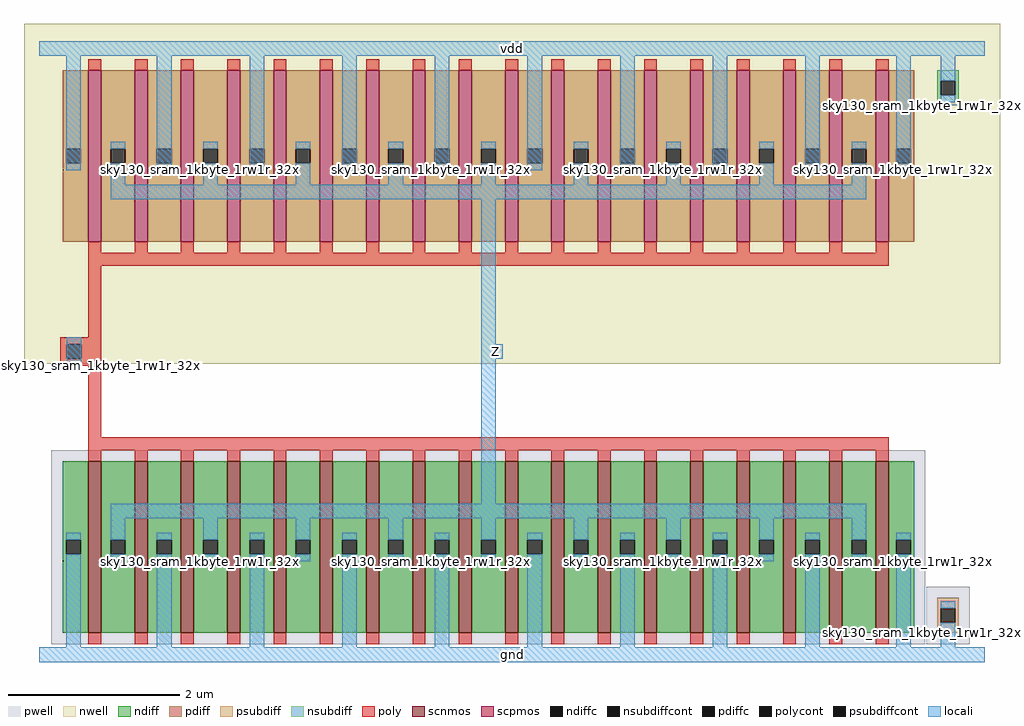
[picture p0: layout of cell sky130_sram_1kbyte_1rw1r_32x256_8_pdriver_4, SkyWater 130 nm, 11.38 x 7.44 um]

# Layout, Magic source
magic
tech sky130A
magscale 1 2
<< nwell >>
rect -36 679 2240 1471
<< locali >>
rect 0 1397 2204 1431
rect 64 674 98 740
rect 1047 690 1081 724
rect 0 -17 2204 17
use sky130_sram_1kbyte_1rw1r_32x256_8_pinv_16  sky130_sram_1kbyte_1rw1r_32x256_8_pinv_16_0
transform 1 0 0 0 1 0
box -36 -17 2240 1471
<< labels >>
rlabel locali s 1064 707 1064 707 4 Z
port 1 nsew
rlabel locali s 81 707 81 707 4 A
port 2 nsew
rlabel locali s 1102 0 1102 0 4 gnd
port 3 nsew
rlabel locali s 1102 1414 1102 1414 4 vdd
port 4 nsew
<< properties >>
string FIXED_BBOX 0 0 2204 1414
string GDS_FILE $PDKPATH/libs.ref/sky130_sram_macros/gds/sky130_sram_1kbyte_1rw1r_32x256_8.gds
string GDS_END 357920
string GDS_START 357088
<< end >>

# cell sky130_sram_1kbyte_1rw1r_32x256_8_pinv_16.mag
magic
tech sky130A
magscale 1 2
<< nwell >>
rect -36 679 2240 1471
<< pwell >>
rect 2068 25 2170 159
<< psubdiff >>
rect 2094 109 2144 133
rect 2094 75 2102 109
rect 2136 75 2144 109
rect 2094 51 2144 75
<< nsubdiff >>
rect 2094 1339 2144 1363
rect 2094 1305 2102 1339
rect 2136 1305 2144 1339
rect 2094 1281 2144 1305
<< psubdiffcont >>
rect 2102 75 2136 109
<< nsubdiffcont >>
rect 2102 1305 2136 1339
<< poly >>
rect 114 740 144 907
rect 48 724 144 740
rect 48 690 64 724
rect 98 690 144 724
rect 48 674 144 690
rect 114 507 144 674
<< polycont >>
rect 64 690 98 724
<< locali >>
rect 0 1397 2204 1431
rect 62 1130 96 1397
rect 274 1130 308 1397
rect 490 1130 524 1397
rect 706 1130 740 1397
rect 922 1130 956 1397
rect 1138 1130 1172 1397
rect 1354 1130 1388 1397
rect 1570 1130 1604 1397
rect 1786 1130 1820 1397
rect 1998 1130 2032 1397
rect 2102 1339 2136 1397
rect 2102 1289 2136 1305
rect 64 724 98 740
rect 64 674 98 690
rect 1030 724 1064 1096
rect 1030 690 1081 724
rect 1030 318 1064 690
rect 62 17 96 218
rect 274 17 308 218
rect 490 17 524 218
rect 706 17 740 218
rect 922 17 956 218
rect 1138 17 1172 218
rect 1354 17 1388 218
rect 1570 17 1604 218
rect 1786 17 1820 218
rect 1998 17 2032 218
rect 2102 109 2136 125
rect 2102 17 2136 75
rect 0 -17 2204 17
use sky130_sram_1kbyte_1rw1r_32x256_8_contact_16  sky130_sram_1kbyte_1rw1r_32x256_8_contact_16_0
transform 1 0 48 0 1 674
box 0 0 1 1
use sky130_sram_1kbyte_1rw1r_32x256_8_contact_29  sky130_sram_1kbyte_1rw1r_32x256_8_contact_29_0
transform 1 0 2094 0 1 51
box 0 0 1 1
use sky130_sram_1kbyte_1rw1r_32x256_8_contact_28  sky130_sram_1kbyte_1rw1r_32x256_8_contact_28_0
transform 1 0 2094 0 1 1281
box 0 0 1 1
use sky130_sram_1kbyte_1rw1r_32x256_8_nmos_m18_w2_000_sli_dli_da_p  sky130_sram_1kbyte_1rw1r_32x256_8_nmos_m18_w2_000_sli_dli_da_p_0
transform 1 0 54 0 1 51
box -26 -26 2012 456
use sky130_sram_1kbyte_1rw1r_32x256_8_pmos_m18_w2_000_sli_dli_da_p  sky130_sram_1kbyte_1rw1r_32x256_8_pmos_m18_w2_000_sli_dli_da_p_0
transform 1 0 54 0 1 963
box -59 -56 2045 454
<< labels >>
rlabel locali s 81 707 81 707 4 A
port 1 nsew
rlabel locali s 1064 707 1064 707 4 Z
port 2 nsew
rlabel locali s 1102 0 1102 0 4 gnd
port 3 nsew
rlabel locali s 1102 1414 1102 1414 4 vdd
port 4 nsew
<< properties >>
string FIXED_BBOX 0 0 2204 1414
string GDS_FILE $PDKPATH/libs.ref/sky130_sram_macros/gds/sky130_sram_1kbyte_1rw1r_32x256_8.gds
string GDS_END 100586
string GDS_START 97564
<< end >>

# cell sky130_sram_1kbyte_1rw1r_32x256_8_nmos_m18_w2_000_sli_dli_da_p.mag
magic
tech sky130A
magscale 1 2
<< pwell >>
rect -26 -26 2012 426
<< scnmos >>
rect 60 0 90 400
rect 168 0 198 400
rect 276 0 306 400
rect 384 0 414 400
rect 492 0 522 400
rect 600 0 630 400
rect 708 0 738 400
rect 816 0 846 400
rect 924 0 954 400
rect 1032 0 1062 400
rect 1140 0 1170 400
rect 1248 0 1278 400
rect 1356 0 1386 400
rect 1464 0 1494 400
rect 1572 0 1602 400
rect 1680 0 1710 400
rect 1788 0 1818 400
rect 1896 0 1926 400
<< ndiff >>
rect 0 217 60 400
rect 0 183 8 217
rect 42 183 60 217
rect 0 0 60 183
rect 90 217 168 400
rect 90 183 112 217
rect 146 183 168 217
rect 90 0 168 183
rect 198 217 276 400
rect 198 183 220 217
rect 254 183 276 217
rect 198 0 276 183
rect 306 217 384 400
rect 306 183 328 217
rect 362 183 384 217
rect 306 0 384 183
rect 414 217 492 400
rect 414 183 436 217
rect 470 183 492 217
rect 414 0 492 183
rect 522 217 600 400
rect 522 183 544 217
rect 578 183 600 217
rect 522 0 600 183
rect 630 217 708 400
rect 630 183 652 217
rect 686 183 708 217
rect 630 0 708 183
rect 738 217 816 400
rect 738 183 760 217
rect 794 183 816 217
rect 738 0 816 183
rect 846 217 924 400
rect 846 183 868 217
rect 902 183 924 217
rect 846 0 924 183
rect 954 217 1032 400
rect 954 183 976 217
rect 1010 183 1032 217
rect 954 0 1032 183
rect 1062 217 1140 400
rect 1062 183 1084 217
rect 1118 183 1140 217
rect 1062 0 1140 183
rect 1170 217 1248 400
rect 1170 183 1192 217
rect 1226 183 1248 217
rect 1170 0 1248 183
rect 1278 217 1356 400
rect 1278 183 1300 217
rect 1334 183 1356 217
rect 1278 0 1356 183
rect 1386 217 1464 400
rect 1386 183 1408 217
rect 1442 183 1464 217
rect 1386 0 1464 183
rect 1494 217 1572 400
rect 1494 183 1516 217
rect 1550 183 1572 217
rect 1494 0 1572 183
rect 1602 217 1680 400
rect 1602 183 1624 217
rect 1658 183 1680 217
rect 1602 0 1680 183
rect 1710 217 1788 400
rect 1710 183 1732 217
rect 1766 183 1788 217
rect 1710 0 1788 183
rect 1818 217 1896 400
rect 1818 183 1840 217
rect 1874 183 1896 217
rect 1818 0 1896 183
rect 1926 217 1986 400
rect 1926 183 1944 217
rect 1978 183 1986 217
rect 1926 0 1986 183
<< ndiffc >>
rect 8 183 42 217
rect 112 183 146 217
rect 220 183 254 217
rect 328 183 362 217
rect 436 183 470 217
rect 544 183 578 217
rect 652 183 686 217
rect 760 183 794 217
rect 868 183 902 217
rect 976 183 1010 217
rect 1084 183 1118 217
rect 1192 183 1226 217
rect 1300 183 1334 217
rect 1408 183 1442 217
rect 1516 183 1550 217
rect 1624 183 1658 217
rect 1732 183 1766 217
rect 1840 183 1874 217
rect 1944 183 1978 217
<< poly >>
rect 60 426 1926 456
rect 60 400 90 426
rect 168 400 198 426
rect 276 400 306 426
rect 384 400 414 426
rect 492 400 522 426
rect 600 400 630 426
rect 708 400 738 426
rect 816 400 846 426
rect 924 400 954 426
rect 1032 400 1062 426
rect 1140 400 1170 426
rect 1248 400 1278 426
rect 1356 400 1386 426
rect 1464 400 1494 426
rect 1572 400 1602 426
rect 1680 400 1710 426
rect 1788 400 1818 426
rect 1896 400 1926 426
rect 60 -26 90 0
rect 168 -26 198 0
rect 276 -26 306 0
rect 384 -26 414 0
rect 492 -26 522 0
rect 600 -26 630 0
rect 708 -26 738 0
rect 816 -26 846 0
rect 924 -26 954 0
rect 1032 -26 1062 0
rect 1140 -26 1170 0
rect 1248 -26 1278 0
rect 1356 -26 1386 0
rect 1464 -26 1494 0
rect 1572 -26 1602 0
rect 1680 -26 1710 0
rect 1788 -26 1818 0
rect 1896 -26 1926 0
<< locali >>
rect 112 267 1874 301
rect 8 217 42 233
rect 8 167 42 183
rect 112 217 146 267
rect 112 167 146 183
rect 220 217 254 233
rect 220 167 254 183
rect 328 217 362 267
rect 328 167 362 183
rect 436 217 470 233
rect 436 167 470 183
rect 544 217 578 267
rect 544 167 578 183
rect 652 217 686 233
rect 652 167 686 183
rect 760 217 794 267
rect 760 167 794 183
rect 868 217 902 233
rect 868 167 902 183
rect 976 217 1010 267
rect 976 167 1010 183
rect 1084 217 1118 233
rect 1084 167 1118 183
rect 1192 217 1226 267
rect 1192 167 1226 183
rect 1300 217 1334 233
rect 1300 167 1334 183
rect 1408 217 1442 267
rect 1408 167 1442 183
rect 1516 217 1550 233
rect 1516 167 1550 183
rect 1624 217 1658 267
rect 1624 167 1658 183
rect 1732 217 1766 233
rect 1732 167 1766 183
rect 1840 217 1874 267
rect 1840 167 1874 183
rect 1944 217 1978 233
rect 1944 167 1978 183
use sky130_sram_1kbyte_1rw1r_32x256_8_contact_11  sky130_sram_1kbyte_1rw1r_32x256_8_contact_11_0
transform 1 0 1936 0 1 167
box 0 0 1 1
use sky130_sram_1kbyte_1rw1r_32x256_8_contact_11  sky130_sram_1kbyte_1rw1r_32x256_8_contact_11_1
transform 1 0 1832 0 1 167
box 0 0 1 1
use sky130_sram_1kbyte_1rw1r_32x256_8_contact_11  sky130_sram_1kbyte_1rw1r_32x256_8_contact_11_2
transform 1 0 1724 0 1 167
box 0 0 1 1
use sky130_sram_1kbyte_1rw1r_32x256_8_contact_11  sky130_sram_1kbyte_1rw1r_32x256_8_contact_11_3
transform 1 0 1616 0 1 167
box 0 0 1 1
use sky130_sram_1kbyte_1rw1r_32x256_8_contact_11  sky130_sram_1kbyte_1rw1r_32x256_8_contact_11_4
transform 1 0 1508 0 1 167
box 0 0 1 1
use sky130_sram_1kbyte_1rw1r_32x256_8_contact_11  sky130_sram_1kbyte_1rw1r_32x256_8_contact_11_5
transform 1 0 1400 0 1 167
box 0 0 1 1
use sky130_sram_1kbyte_1rw1r_32x256_8_contact_11  sky130_sram_1kbyte_1rw1r_32x256_8_contact_11_6
transform 1 0 1292 0 1 167
box 0 0 1 1
use sky130_sram_1kbyte_1rw1r_32x256_8_contact_11  sky130_sram_1kbyte_1rw1r_32x256_8_contact_11_7
transform 1 0 1184 0 1 167
box 0 0 1 1
use sky130_sram_1kbyte_1rw1r_32x256_8_contact_11  sky130_sram_1kbyte_1rw1r_32x256_8_contact_11_8
transform 1 0 1076 0 1 167
box 0 0 1 1
use sky130_sram_1kbyte_1rw1r_32x256_8_contact_11  sky130_sram_1kbyte_1rw1r_32x256_8_contact_11_9
transform 1 0 968 0 1 167
box 0 0 1 1
use sky130_sram_1kbyte_1rw1r_32x256_8_contact_11  sky130_sram_1kbyte_1rw1r_32x256_8_contact_11_10
transform 1 0 860 0 1 167
box 0 0 1 1
use sky130_sram_1kbyte_1rw1r_32x256_8_contact_11  sky130_sram_1kbyte_1rw1r_32x256_8_contact_11_11
transform 1 0 752 0 1 167
box 0 0 1 1
use sky130_sram_1kbyte_1rw1r_32x256_8_contact_11  sky130_sram_1kbyte_1rw1r_32x256_8_contact_11_12
transform 1 0 644 0 1 167
box 0 0 1 1
use sky130_sram_1kbyte_1rw1r_32x256_8_contact_11  sky130_sram_1kbyte_1rw1r_32x256_8_contact_11_13
transform 1 0 536 0 1 167
box 0 0 1 1
use sky130_sram_1kbyte_1rw1r_32x256_8_contact_11  sky130_sram_1kbyte_1rw1r_32x256_8_contact_11_14
transform 1 0 428 0 1 167
box 0 0 1 1
use sky130_sram_1kbyte_1rw1r_32x256_8_contact_11  sky130_sram_1kbyte_1rw1r_32x256_8_contact_11_15
transform 1 0 320 0 1 167
box 0 0 1 1
use sky130_sram_1kbyte_1rw1r_32x256_8_contact_11  sky130_sram_1kbyte_1rw1r_32x256_8_contact_11_16
transform 1 0 212 0 1 167
box 0 0 1 1
use sky130_sram_1kbyte_1rw1r_32x256_8_contact_11  sky130_sram_1kbyte_1rw1r_32x256_8_contact_11_17
transform 1 0 104 0 1 167
box 0 0 1 1
use sky130_sram_1kbyte_1rw1r_32x256_8_contact_11  sky130_sram_1kbyte_1rw1r_32x256_8_contact_11_18
transform 1 0 0 0 1 167
box 0 0 1 1
<< labels >>
rlabel locali s 1749 200 1749 200 4 S
port 1 nsew
rlabel locali s 453 200 453 200 4 S
port 1 nsew
rlabel locali s 1101 200 1101 200 4 S
port 1 nsew
rlabel locali s 1533 200 1533 200 4 S
port 1 nsew
rlabel locali s 669 200 669 200 4 S
port 1 nsew
rlabel locali s 1961 200 1961 200 4 S
port 1 nsew
rlabel locali s 25 200 25 200 4 S
port 1 nsew
rlabel locali s 885 200 885 200 4 S
port 1 nsew
rlabel locali s 1317 200 1317 200 4 S
port 1 nsew
rlabel locali s 237 200 237 200 4 S
port 1 nsew
rlabel locali s 993 284 993 284 4 D
port 2 nsew
rlabel poly s 993 441 993 441 4 G
port 3 nsew
<< properties >>
string FIXED_BBOX -25 -26 2011 456
string GDS_FILE $PDKPATH/libs.ref/sky130_sram_macros/gds/sky130_sram_1kbyte_1rw1r_32x256_8.gds
string GDS_END 30916
string GDS_START 26226
<< end >>

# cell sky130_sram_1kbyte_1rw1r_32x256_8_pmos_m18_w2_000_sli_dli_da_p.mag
magic
tech sky130A
magscale 1 2
<< nwell >>
rect -54 284 2040 454
rect -59 116 2045 284
rect -54 -54 2040 116
<< scpmos >>
rect 60 0 90 400
rect 168 0 198 400
rect 276 0 306 400
rect 384 0 414 400
rect 492 0 522 400
rect 600 0 630 400
rect 708 0 738 400
rect 816 0 846 400
rect 924 0 954 400
rect 1032 0 1062 400
rect 1140 0 1170 400
rect 1248 0 1278 400
rect 1356 0 1386 400
rect 1464 0 1494 400
rect 1572 0 1602 400
rect 1680 0 1710 400
rect 1788 0 1818 400
rect 1896 0 1926 400
<< pdiff >>
rect 0 217 60 400
rect 0 183 8 217
rect 42 183 60 217
rect 0 0 60 183
rect 90 217 168 400
rect 90 183 112 217
rect 146 183 168 217
rect 90 0 168 183
rect 198 217 276 400
rect 198 183 220 217
rect 254 183 276 217
rect 198 0 276 183
rect 306 217 384 400
rect 306 183 328 217
rect 362 183 384 217
rect 306 0 384 183
rect 414 217 492 400
rect 414 183 436 217
rect 470 183 492 217
rect 414 0 492 183
rect 522 217 600 400
rect 522 183 544 217
rect 578 183 600 217
rect 522 0 600 183
rect 630 217 708 400
rect 630 183 652 217
rect 686 183 708 217
rect 630 0 708 183
rect 738 217 816 400
rect 738 183 760 217
rect 794 183 816 217
rect 738 0 816 183
rect 846 217 924 400
rect 846 183 868 217
rect 902 183 924 217
rect 846 0 924 183
rect 954 217 1032 400
rect 954 183 976 217
rect 1010 183 1032 217
rect 954 0 1032 183
rect 1062 217 1140 400
rect 1062 183 1084 217
rect 1118 183 1140 217
rect 1062 0 1140 183
rect 1170 217 1248 400
rect 1170 183 1192 217
rect 1226 183 1248 217
rect 1170 0 1248 183
rect 1278 217 1356 400
rect 1278 183 1300 217
rect 1334 183 1356 217
rect 1278 0 1356 183
rect 1386 217 1464 400
rect 1386 183 1408 217
rect 1442 183 1464 217
rect 1386 0 1464 183
rect 1494 217 1572 400
rect 1494 183 1516 217
rect 1550 183 1572 217
rect 1494 0 1572 183
rect 1602 217 1680 400
rect 1602 183 1624 217
rect 1658 183 1680 217
rect 1602 0 1680 183
rect 1710 217 1788 400
rect 1710 183 1732 217
rect 1766 183 1788 217
rect 1710 0 1788 183
rect 1818 217 1896 400
rect 1818 183 1840 217
rect 1874 183 1896 217
rect 1818 0 1896 183
rect 1926 217 1986 400
rect 1926 183 1944 217
rect 1978 183 1986 217
rect 1926 0 1986 183
<< pdiffc >>
rect 8 183 42 217
rect 112 183 146 217
rect 220 183 254 217
rect 328 183 362 217
rect 436 183 470 217
rect 544 183 578 217
rect 652 183 686 217
rect 760 183 794 217
rect 868 183 902 217
rect 976 183 1010 217
rect 1084 183 1118 217
rect 1192 183 1226 217
rect 1300 183 1334 217
rect 1408 183 1442 217
rect 1516 183 1550 217
rect 1624 183 1658 217
rect 1732 183 1766 217
rect 1840 183 1874 217
rect 1944 183 1978 217
<< poly >>
rect 60 400 90 426
rect 168 400 198 426
rect 276 400 306 426
rect 384 400 414 426
rect 492 400 522 426
rect 600 400 630 426
rect 708 400 738 426
rect 816 400 846 426
rect 924 400 954 426
rect 1032 400 1062 426
rect 1140 400 1170 426
rect 1248 400 1278 426
rect 1356 400 1386 426
rect 1464 400 1494 426
rect 1572 400 1602 426
rect 1680 400 1710 426
rect 1788 400 1818 426
rect 1896 400 1926 426
rect 60 -26 90 0
rect 168 -26 198 0
rect 276 -26 306 0
rect 384 -26 414 0
rect 492 -26 522 0
rect 600 -26 630 0
rect 708 -26 738 0
rect 816 -26 846 0
rect 924 -26 954 0
rect 1032 -26 1062 0
rect 1140 -26 1170 0
rect 1248 -26 1278 0
rect 1356 -26 1386 0
rect 1464 -26 1494 0
rect 1572 -26 1602 0
rect 1680 -26 1710 0
rect 1788 -26 1818 0
rect 1896 -26 1926 0
rect 60 -56 1926 -26
<< locali >>
rect 8 217 42 233
rect 8 167 42 183
rect 112 217 146 233
rect 112 133 146 183
rect 220 217 254 233
rect 220 167 254 183
rect 328 217 362 233
rect 328 133 362 183
rect 436 217 470 233
rect 436 167 470 183
rect 544 217 578 233
rect 544 133 578 183
rect 652 217 686 233
rect 652 167 686 183
rect 760 217 794 233
rect 760 133 794 183
rect 868 217 902 233
rect 868 167 902 183
rect 976 217 1010 233
rect 976 133 1010 183
rect 1084 217 1118 233
rect 1084 167 1118 183
rect 1192 217 1226 233
rect 1192 133 1226 183
rect 1300 217 1334 233
rect 1300 167 1334 183
rect 1408 217 1442 233
rect 1408 133 1442 183
rect 1516 217 1550 233
rect 1516 167 1550 183
rect 1624 217 1658 233
rect 1624 133 1658 183
rect 1732 217 1766 233
rect 1732 167 1766 183
rect 1840 217 1874 233
rect 1840 133 1874 183
rect 1944 217 1978 233
rect 1944 167 1978 183
rect 112 99 1874 133
use sky130_sram_1kbyte_1rw1r_32x256_8_contact_12  sky130_sram_1kbyte_1rw1r_32x256_8_contact_12_0
transform 1 0 1936 0 1 167
box 0 0 1 1
use sky130_sram_1kbyte_1rw1r_32x256_8_contact_12  sky130_sram_1kbyte_1rw1r_32x256_8_contact_12_1
transform 1 0 1832 0 1 167
box 0 0 1 1
use sky130_sram_1kbyte_1rw1r_32x256_8_contact_12  sky130_sram_1kbyte_1rw1r_32x256_8_contact_12_2
transform 1 0 1724 0 1 167
box 0 0 1 1
use sky130_sram_1kbyte_1rw1r_32x256_8_contact_12  sky130_sram_1kbyte_1rw1r_32x256_8_contact_12_3
transform 1 0 1616 0 1 167
box 0 0 1 1
use sky130_sram_1kbyte_1rw1r_32x256_8_contact_12  sky130_sram_1kbyte_1rw1r_32x256_8_contact_12_4
transform 1 0 1508 0 1 167
box 0 0 1 1
use sky130_sram_1kbyte_1rw1r_32x256_8_contact_12  sky130_sram_1kbyte_1rw1r_32x256_8_contact_12_5
transform 1 0 1400 0 1 167
box 0 0 1 1
use sky130_sram_1kbyte_1rw1r_32x256_8_contact_12  sky130_sram_1kbyte_1rw1r_32x256_8_contact_12_6
transform 1 0 1292 0 1 167
box 0 0 1 1
use sky130_sram_1kbyte_1rw1r_32x256_8_contact_12  sky130_sram_1kbyte_1rw1r_32x256_8_contact_12_7
transform 1 0 1184 0 1 167
box 0 0 1 1
use sky130_sram_1kbyte_1rw1r_32x256_8_contact_12  sky130_sram_1kbyte_1rw1r_32x256_8_contact_12_8
transform 1 0 1076 0 1 167
box 0 0 1 1
use sky130_sram_1kbyte_1rw1r_32x256_8_contact_12  sky130_sram_1kbyte_1rw1r_32x256_8_contact_12_9
transform 1 0 968 0 1 167
box 0 0 1 1
use sky130_sram_1kbyte_1rw1r_32x256_8_contact_12  sky130_sram_1kbyte_1rw1r_32x256_8_contact_12_10
transform 1 0 860 0 1 167
box 0 0 1 1
use sky130_sram_1kbyte_1rw1r_32x256_8_contact_12  sky130_sram_1kbyte_1rw1r_32x256_8_contact_12_11
transform 1 0 752 0 1 167
box 0 0 1 1
use sky130_sram_1kbyte_1rw1r_32x256_8_contact_12  sky130_sram_1kbyte_1rw1r_32x256_8_contact_12_12
transform 1 0 644 0 1 167
box 0 0 1 1
use sky130_sram_1kbyte_1rw1r_32x256_8_contact_12  sky130_sram_1kbyte_1rw1r_32x256_8_contact_12_13
transform 1 0 536 0 1 167
box 0 0 1 1
use sky130_sram_1kbyte_1rw1r_32x256_8_contact_12  sky130_sram_1kbyte_1rw1r_32x256_8_contact_12_14
transform 1 0 428 0 1 167
box 0 0 1 1
use sky130_sram_1kbyte_1rw1r_32x256_8_contact_12  sky130_sram_1kbyte_1rw1r_32x256_8_contact_12_15
transform 1 0 320 0 1 167
box 0 0 1 1
use sky130_sram_1kbyte_1rw1r_32x256_8_contact_12  sky130_sram_1kbyte_1rw1r_32x256_8_contact_12_16
transform 1 0 212 0 1 167
box 0 0 1 1
use sky130_sram_1kbyte_1rw1r_32x256_8_contact_12  sky130_sram_1kbyte_1rw1r_32x256_8_contact_12_17
transform 1 0 104 0 1 167
box 0 0 1 1
use sky130_sram_1kbyte_1rw1r_32x256_8_contact_12  sky130_sram_1kbyte_1rw1r_32x256_8_contact_12_18
transform 1 0 0 0 1 167
box 0 0 1 1
<< labels >>
rlabel locali s 1749 200 1749 200 4 S
port 1 nsew
rlabel locali s 453 200 453 200 4 S
port 1 nsew
rlabel locali s 1101 200 1101 200 4 S
port 1 nsew
rlabel locali s 1533 200 1533 200 4 S
port 1 nsew
rlabel locali s 669 200 669 200 4 S
port 1 nsew
rlabel locali s 1961 200 1961 200 4 S
port 1 nsew
rlabel locali s 25 200 25 200 4 S
port 1 nsew
rlabel locali s 885 200 885 200 4 S
port 1 nsew
rlabel locali s 1317 200 1317 200 4 S
port 1 nsew
rlabel locali s 237 200 237 200 4 S
port 1 nsew
rlabel locali s 993 116 993 116 4 D
port 2 nsew
rlabel poly s 993 -41 993 -41 4 G
port 3 nsew
<< properties >>
string FIXED_BBOX -54 -56 2040 116
string GDS_FILE $PDKPATH/libs.ref/sky130_sram_macros/gds/sky130_sram_1kbyte_1rw1r_32x256_8.gds
string GDS_END 35764
string GDS_START 31010
<< end >>
